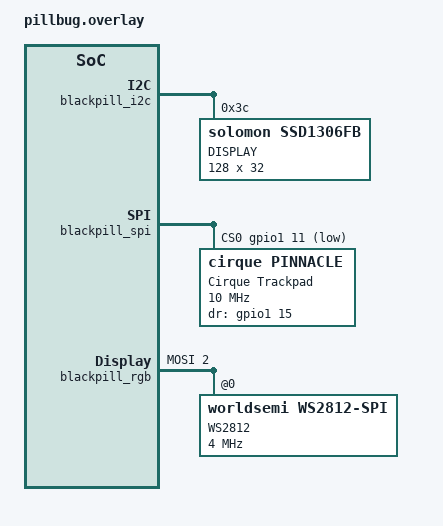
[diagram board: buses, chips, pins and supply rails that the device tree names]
/*
 * Copyright (c) 2022 The ZMK Contributors
 *
 * SPDX-License-Identifier: MIT
 */

#include <dt-bindings/led/led.h>

&blackpill_i2c {
	status = "okay";

	oled: ssd1306@3c {
		compatible = "solomon,ssd1306fb";
		reg = <0x3c>;
		label = "DISPLAY";
		width = <128>;
		height = <32>;
		segment-offset = <0>;
		page-offset = <0>;
		display-offset = <0>;
		multiplex-ratio = <31>;
		com-sequential;
		prechargep = <0x22>;
	};
};


&blackpill_spi {
    status = "okay";
    
    cs-gpios = <&gpio1 11 GPIO_ACTIVE_LOW>;
    
    trackpad@0 {
        compatible = "cirque,pinnacle";
        status = "okay";
        reg = <0>;
        spi-max-frequency = <10000000>;
        dr-gpios = <&gpio1 15 GPIO_ACTIVE_HIGH>;
        invert-x;
        sleep;
        /* no-taps; */
        label = "Cirque Trackpad";
    };
};

&blackpill_rgb {
	status = "okay";
    
	mosi-pin = <2>;
    
	led_strip: ws2812@0 {
		compatible = "worldsemi,ws2812-spi";
		label = "WS2812";

		/* SPI */
		reg = <0>; /* ignored, but necessary for SPI bindings */
		spi-max-frequency = <4000000>;

		/* WS2812 */
		chain-length = <3>; /* number of LEDs */
		spi-one-frame = <0x70>;
		spi-zero-frame = <0x40>;

		color-mapping = <LED_COLOR_ID_GREEN LED_COLOR_ID_RED LED_COLOR_ID_BLUE>;
	};
};

/ {
	chosen {
		zmk,underglow = &led_strip;
        zephyr,display = &oled;
	};
};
